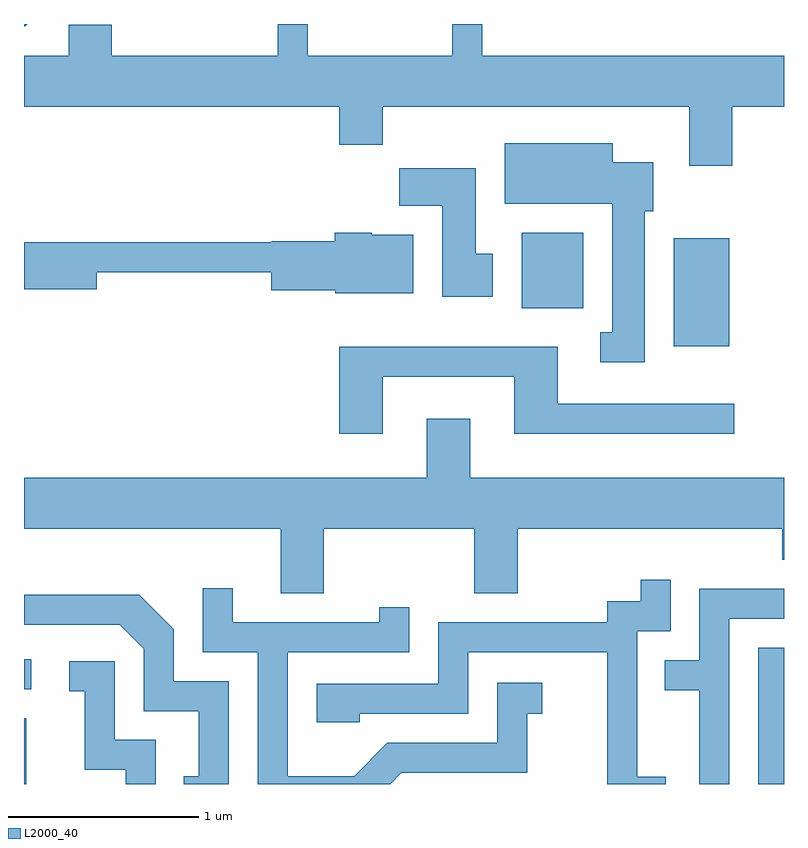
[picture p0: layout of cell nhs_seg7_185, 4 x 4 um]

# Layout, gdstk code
import gdstk
lib = gdstk.Library(unit=1e-6, precision=1e-09)
def R(c, l, rs):  # rectangles x0, y0, x1, y1
    for r in rs: c.add(gdstk.rectangle(r[:2], r[2:], *l))
def P(c, l, *ps):  # polygons
    for p in ps: c.add(gdstk.Polygon(p, *l))
L2000_40 = (2000, 40)

nhs_seg7_185 = lib.new_cell('nhs_seg7_185')
R(nhs_seg7_185, L2000_40, [(189.611,1766.252,189.624,1766.599), (193.476,1766.252,193.611,1766.969), (189.611,1766.751,189.648,1766.909), (193.031,1768.556,193.324,1769.124), (192.231,1768.756,192.554,1769.154)])
P(nhs_seg7_185, L2000_40, [(193.339,1769.816),(193.611,1769.816),(193.611,1770.084),(192.024,1770.084),(192.024,1770.252),(191.866,1770.252),(191.866,1770.084),(191.104,1770.084),(191.104,1770.252),(190.946,1770.252),(190.946,1770.084),(190.074,1770.084),(190.074,1770.249),(189.846,1770.249),(189.846,1770.084),(189.611,1770.084),(189.611,1769.816),(191.271,1769.816),(191.271,1769.616),(191.499,1769.616),(191.499,1769.816),(193.111,1769.816),(193.111,1769.506),(193.339,1769.506)],
  [(189.628,1770.252),(189.611,1770.252),(189.611,1770.241),(189.617,1770.241)],
  [(192.879,1769.266),(192.924,1769.266),(192.924,1769.524),(192.709,1769.524),(192.709,1769.624),(192.141,1769.624),(192.141,1769.306),(192.706,1769.306),(192.706,1768.629),(192.643,1768.629),(192.643,1768.471),(192.879,1768.471)],
  [(192.079,1769.044),(191.989,1769.044),(191.989,1769.494),(191.586,1769.494),(191.586,1769.296),(191.811,1769.296),(191.811,1768.816),(192.079,1768.816)],
  [(191.659,1769.144),(191.44,1769.144),(191.44,1769.154),(191.246,1769.154),(191.246,1769.109),(190.915,1769.109),(190.915,1769.104),(189.611,1769.104),(189.611,1768.856),(189.994,1768.856),(189.994,1768.946),(190.911,1768.946),(190.911,1768.851),(191.25,1768.851),(191.25,1768.836),(191.659,1768.836)],
  [(191.499,1768.396),(192.191,1768.396),(192.191,1768.096),(193.348,1768.096),(193.348,1768.254),(192.419,1768.254),(192.419,1768.554),(191.271,1768.554),(191.271,1768.096),(191.499,1768.096)],
  [(191.189,1767.596),(191.981,1767.596),(191.981,1767.256),(192.209,1767.256),(192.209,1767.596),(193.601,1767.596),(193.601,1767.431),(193.611,1767.431),(193.611,1767.864),(191.959,1767.864),(191.959,1768.174),(191.731,1768.174),(191.731,1767.864),(189.611,1767.864),(189.611,1767.596),(190.961,1767.596),(190.961,1767.256),(191.189,1767.256)],
  [(192.989,1766.289),(192.839,1766.289),(192.839,1767.056),(193.014,1767.056),(193.014,1767.328),(192.856,1767.328),(192.856,1767.214),(192.681,1767.214),(192.681,1767.104),(191.791,1767.104),(191.791,1766.779),(191.151,1766.779),(191.151,1766.576),(191.379,1766.576),(191.379,1766.621),(191.949,1766.621),(191.949,1766.946),(192.681,1766.946),(192.681,1766.252),(192.989,1766.252)],
  [(191.597,1766.311),(192.259,1766.311),(192.259,1766.621),(192.338,1766.621),(192.338,1766.784),(192.101,1766.784),(192.101,1766.469),(191.524,1766.469),(191.349,1766.294),(190.999,1766.294),(190.999,1766.946),(191.639,1766.946),(191.639,1767.183),(191.481,1767.183),(191.481,1767.104),(190.709,1767.104),(190.709,1767.283),(190.551,1767.283),(190.551,1766.946),(190.841,1766.946),(190.841,1766.252),(191.538,1766.252)],
  [(193.324,1767.121),(193.611,1767.121),(193.611,1767.279),(193.166,1767.279),(193.166,1766.904),(192.983,1766.904),(192.983,1766.746),(193.166,1766.746),(193.166,1766.252),(193.324,1766.252)],
  [(190.689,1766.794),(190.399,1766.794),(190.399,1767.067),(190.217,1767.249),(189.611,1767.249),(189.611,1767.091),(190.114,1767.091),(190.241,1766.964),(190.241,1766.636),(190.531,1766.636),(190.531,1766.294),(190.453,1766.294),(190.453,1766.252),(190.689,1766.252)],
  [(190.304,1766.484),(190.089,1766.484),(190.089,1766.899),(189.848,1766.899),(189.848,1766.741),(189.931,1766.741),(189.931,1766.326),(190.146,1766.326),(190.146,1766.252),(190.304,1766.252)])

lib.write_gds('nhs_seg7_185.gds')
